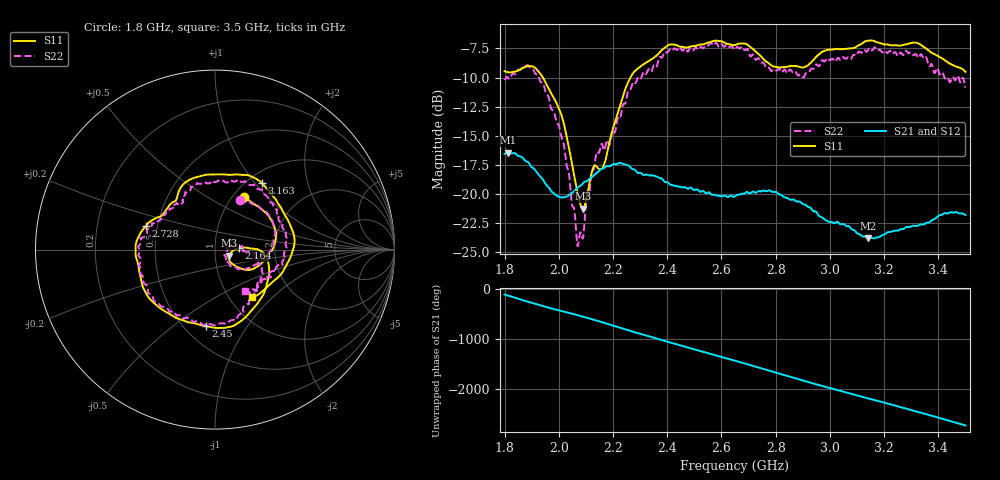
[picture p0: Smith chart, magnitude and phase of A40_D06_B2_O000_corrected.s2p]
! Created with skrf 1.9.0 (http://scikit-rf.org).
# Hz S RI R 50.0
!freq ReS11 ImS11 ReS21 ImS21 ReS12 ImS12 ReS22 ImS22
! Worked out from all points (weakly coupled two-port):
!   1601 points, 1.8 GHz to 3.5 GHz, reference 50 ohm
!   highest |S21| = -16.45 dB at 1.812 GHz (marker M1); lowest = -23.8 dB at 3.142 GHz (marker M2)
!   lowest |S11| = -21.2 dB at 2.089 GHz (marker M3), VSWR 1.19, Z = 58.6 - j3.9 ohm
!   |S11| at or under -10 dB: 1.942 GHz to 2.264 GHz (322.2 MHz wide, 15.3 % of centre)
!   |S22| runs from -24.5 to -7.0 dB; largest |S21 - S12| = 0.0025
!   S11 on the Smith chart (normalised r, x): 1.8 GHz: 1.13, +0.75; 2.164 GHz: 1.30, +0.02; 2.45 GHz: 0.63, -0.66; 2.728 GHz: 0.43, +0.13; 3.163 GHz: 1.16, +1.09; 3.5 GHz: 1.28, -0.75
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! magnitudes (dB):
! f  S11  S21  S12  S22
! 1.8 GHz  -9.4  -16.6  -16.6  -10.2
! 1.812 GHz  -9.5  -16.4  -16.5  -10.0
! 1.883 GHz  -9.0  -17.2  -17.2  -8.9
! 1.942 GHz  -10.0  -18.8  -18.8  -10.5
! 2.011 GHz  -13.3  -20.3  -20.3  -15.3
! 2.067 GHz  -19.6  -19.5  -19.5  -24.1
! 2.084 GHz  -21.1  -19.2  -19.2  -23.5
! 2.089 GHz  -21.2  -19.1  -19.1  -23.8
! 2.13 GHz  -17.6  -18.4  -18.4  -17.7
! 2.164 GHz  -17.6  -17.8  -17.7  -16.1
! 2.26 GHz  -10.2  -17.6  -17.6  -11.0
! 2.367 GHz  -8.0  -18.6  -18.5  -8.5
! 2.45 GHz  -7.4  -19.4  -19.4  -7.5
! 2.65 GHz  -7.2  -20.2  -20.2  -7.6
! 2.728 GHz  -7.8  -19.9  -19.9  -8.5
! 2.803 GHz  -9.1  -19.8  -19.9  -9.4
! 2.934 GHz  -8.6  -21.3  -21.3  -9.2
! 3.142 GHz  -6.8  -23.8  -23.7  -7.6
! 3.163 GHz  -6.9  -23.8  -23.8  -7.4
! 3.217 GHz  -7.2  -23.3  -23.2  -7.8
! 3.324 GHz  -7.0  -22.7  -22.7  -8.2
! 3.5 GHz  -9.5  -21.8  -21.8  -10.9
